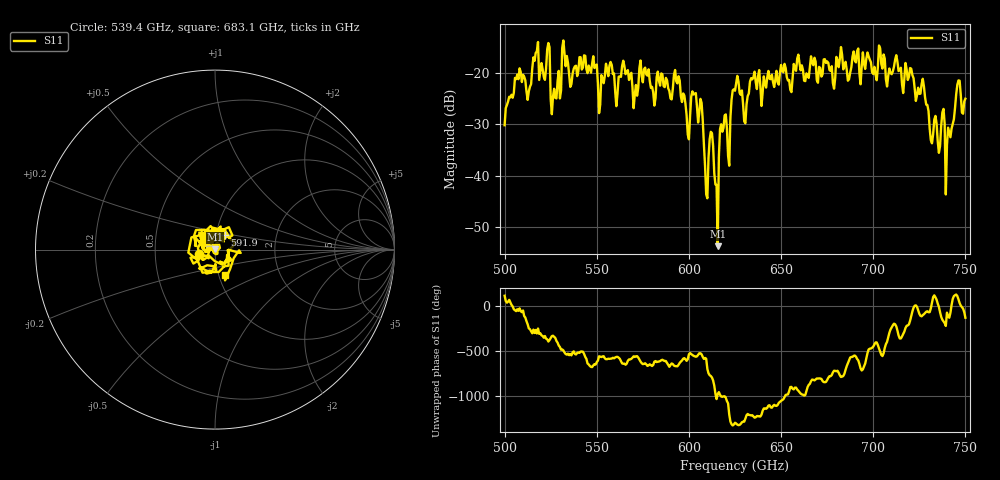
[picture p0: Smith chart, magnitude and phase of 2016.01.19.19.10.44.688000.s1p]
!Created with skrf (http://scikit-rf.org).
# GHz S RI R 50.0
!freq ReS11 ImS11
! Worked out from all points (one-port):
!   401 points, 500 GHz to 750 GHz, reference 50 ohm
!   lowest |S11| = -53.8 dB at 615.6 GHz (marker M1), VSWR 1.00, Z = 50 + j0.203 ohm
!   |S11| at or under -10 dB: start of sweep to end of sweep
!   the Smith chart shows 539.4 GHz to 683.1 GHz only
!   S11 on the Smith chart (normalised r, x): 539.4 GHz: 0.83, -0.05; 591.9 GHz: 1.10, +0.18; 683.1 GHz: 1.08, -0.31
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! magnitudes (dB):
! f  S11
! 500 GHz  -30.1
! 513.1 GHz  -23.5
! 516.9 GHz  -16.0
! 523.1 GHz  -15.3
! 526.2 GHz  -24.5
! 531.2 GHz  -15.1
! 539.4 GHz  -20.5
! 562.5 GHz  -20.6
! 591.9 GHz  -20.3
! 593.8 GHz  -22.0
! 599.4 GHz  -32.0
! 603.1 GHz  -24.0
! 606.9 GHz  -25.8
! 609.4 GHz  -43.6
! 611.9 GHz  -31.4
! 615.6 GHz  -53.8
! 618.1 GHz  -31.4
! 621.9 GHz  -38.1
! 625 GHz  -23.4
! 630.6 GHz  -29.8
! 634.4 GHz  -21.2
! 656.2 GHz  -21.0
! 683.1 GHz  -16.4
! 687.5 GHz  -19.9
! 718.8 GHz  -21.3
! 740.6 GHz  -30.6
! 745.6 GHz  -22.2
! 750 GHz  -25.0
